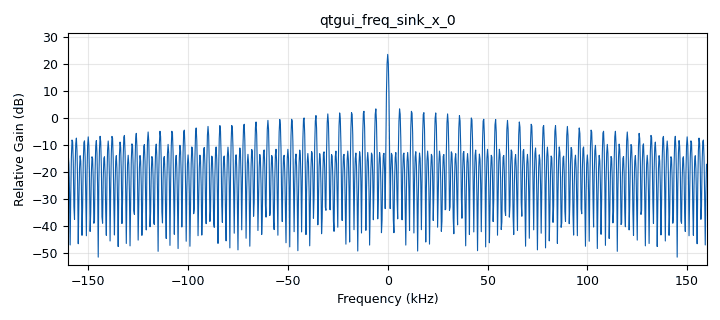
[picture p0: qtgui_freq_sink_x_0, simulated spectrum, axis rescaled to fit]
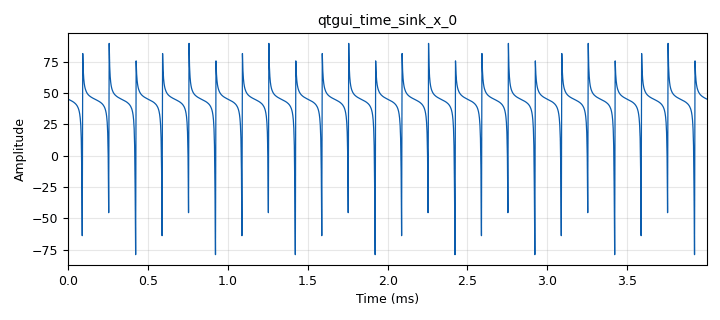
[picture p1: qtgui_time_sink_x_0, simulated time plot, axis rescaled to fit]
options:
  parameters:
    author: luso
    generate_options: qt_gui
    id: discriminator
    output_language: python
    title: Not titled yet
  states: {}

blocks:
- name: freq
  id: variable
  parameters:
    value: '1000'
  states: {}
- name: samp_rate
  id: variable
  parameters:
    value: '320000'
  states: {}
- name: analog_sig_source_x_0
  id: analog_sig_source_x
  parameters:
    amp: '1'
    freq: freq*3
    offset: '0'
    phase: '0'
    samp_rate: samp_rate
    type: float
    waveform: analog.GR_COS_WAVE
  states: {}
- name: blocks_complex_to_arg_0
  id: blocks_complex_to_arg
  parameters: {}
  states: {state: disabled}
- name: blocks_delay_0
  id: blocks_delay
  parameters:
    delay: '2'
    type: float
  states: {}
- name: blocks_divide_xx_0
  id: blocks_divide_xx
  parameters:
    type: float
  states: {}
- name: blocks_multiply_const_vxx_0
  id: blocks_multiply_const_vxx
  parameters:
    const: 180/c.pi
    type: float
  states: {}
- name: blocks_throttle2_0
  id: blocks_throttle2
  parameters:
    samples_per_second: samp_rate
    type: float
  states: {}
- name: blocks_transcendental_0
  id: blocks_transcendental
  parameters:
    name: atan
    type: float
  states: {}
- name: dc_blocker_xx_0
  id: dc_blocker_xx
  parameters:
    length: '32'
    long_form: 'True'
    type: ff
  states: {state: disabled}
- name: import_0
  id: import
  parameters:
    imports: import numpy as c
  states: {}
- name: low_pass_filter_0
  id: low_pass_filter
  parameters:
    cutoff_freq: 1.2*1e5
    decim: '1'
    gain: '1'
    samp_rate: samp_rate
    type: fir_filter_fff
    width: '200'
    win: window.WIN_HAMMING
  states: {state: disabled}
- name: qtgui_freq_sink_x_0
  id: qtgui_freq_sink_x
  parameters:
    bw: samp_rate
    fc: '0'
    fftsize: '1024'
    type: float
  states: {}
- name: qtgui_time_sink_x_0
  id: qtgui_time_sink_x
  parameters:
    size: round(4*samp_rate/freq)
    srate: samp_rate
    type: float
  states: {}
- name: virtual_sink_0
  id: virtual_sink
  parameters:
    stream_id: arctan
  states: {}
- name: virtual_source_0
  id: virtual_source
  parameters:
    stream_id: arctan
  states: {}

connections:
- [analog_sig_source_x_0, '0', blocks_delay_0, '0']
- [analog_sig_source_x_0, '0', blocks_divide_xx_0, '0']
- [blocks_delay_0, '0', blocks_divide_xx_0, '1']
- [blocks_divide_xx_0, '0', blocks_transcendental_0, '0']
- [blocks_multiply_const_vxx_0, '0', blocks_throttle2_0, '0']
- [blocks_throttle2_0, '0', low_pass_filter_0, '0']
- [blocks_throttle2_0, '0', virtual_sink_0, '0']
- [blocks_transcendental_0, '0', blocks_multiply_const_vxx_0, '0']
- [dc_blocker_xx_0, '0', low_pass_filter_0, '0']
- [low_pass_filter_0, '0', qtgui_freq_sink_x_0, '0']
- [low_pass_filter_0, '0', qtgui_time_sink_x_0, '0']
- [virtual_source_0, '0', qtgui_freq_sink_x_0, '0']
- [virtual_source_0, '0', qtgui_time_sink_x_0, '0']

metadata:
  file_format: 1
  grc_version: 3.10.10.0
